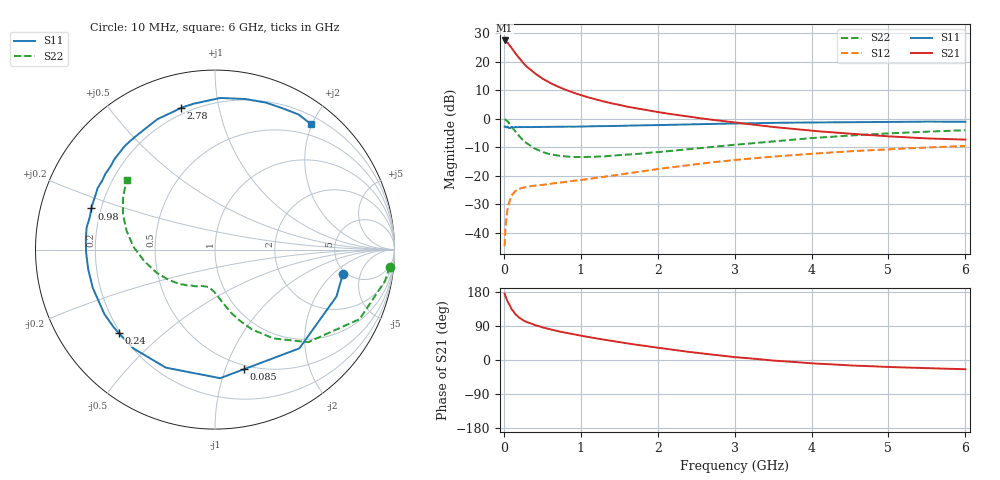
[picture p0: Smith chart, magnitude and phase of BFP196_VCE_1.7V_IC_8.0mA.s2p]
! (c) 2016  Infineon Technologies AG, Munich
! Infineon Technologies  Discrete & RF Semiconductors
! BFP196
! VCE = 1.7 V,  IC = 8.0mA
! Common Emitter S-Parameters:  Jan 2016
# GHz  S  MA  R  50
!  f  S11  S21  S12  S22
! GHz  MAG  ANG  MAG  ANG  MAG  ANG  MAG  ANG
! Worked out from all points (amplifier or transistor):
!   210 points, 10 MHz to 6 GHz, reference 50 ohm
!   highest |S21| = 27.4 dB at 10 MHz (marker M1)
!   |S21| within 3 dB of that: start of sweep to 111.5 MHz
!   unconditionally stable (mu >= 1): 928.1 MHz to 3.416 GHz
!   at 185 MHz: K = 0.27, MSG = 23.3 dB, |S12| = -24.8 dB
!   at 1.52 GHz: K = 1.18, MAG = 9.6 dB, |S12| = -19.6 dB
!   at 6 GHz: K = 0.99, MSG = 1.1 dB, |S12| = -9.6 dB
!   S11 on the Smith chart (normalised r, x): 10 MHz: 4.66, -2.70; 85 MHz: 0.46, -1.16; 240 MHz: 0.19, -0.36; 980 MHz: 0.16, +0.16; 2.78 GHz: 0.17, +0.77; 6 GHz: 0.32, +1.99
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0.01  0.7251 -10.9  23.42 175.4  0.0058 86.9  0.9786 -5.6
0.02  0.7256 -21.1  22.81 168.8  0.0117 79.7  0.962 -10.7
0.05  0.7237 -49.5  21.32 154.0  0.027 67.0  0.8945 -25.6
0.085  0.6858 -76.4  18.39 141.1  0.0391 53.9  0.7708 -38.2
0.1  0.717 -87.7  17.48 134.4  0.0446 50.5  0.7319 -44.8
0.15  0.7124 -112.6  13.87 120.7  0.0539 41.1  0.5919 -56.7
0.2  0.714 -129.4  11.41 111.6  0.0589 35.4  0.49 -65.2
0.24  0.7101 -139.0  9.838 106.4  0.061 32.3  0.4298 -69.8
0.26  0.7112 -143.1  9.177 103.9  0.0621 31.4  0.4055 -71.9
0.3  0.7134 -149.7  8.072 99.9  0.0639 30.4  0.3673 -75.3
0.4  0.7138 -162.7  6.243 92.3  0.0668 28.7  0.2992 -81.7
0.5  0.715 -171.3  5.033 86.2  0.0687 28.7  0.2598 -86.7
0.7  0.7223 175.2  3.654 76.0  0.0743 30.7  0.2249 -93.8
0.98  0.7258 161.6  2.635 65.0  0.0831 34.5  0.2114 -102.3
1.02  0.7278 159.8  2.534 63.4  0.0843 35.1  0.2116 -103.5
1.4  0.7426 145.1  1.851 50.5  0.0997 38.6  0.2236 -113.8
2.02  0.7705 125.0  1.29 31.9  0.1311 40.7  0.2596 -131.3
2.78  0.8111 103.7  0.929 12.7  0.175 37.1  0.3244 -152.1
3.1  0.8237 96.4  0.824 6.0  0.1934 34.1  0.3565 -160.6
4.1  0.8567 77.0  0.597 -9.8  0.2466 23.8  0.4642 175.7
5.1  0.8747 63.0  0.481 -19.1  0.294 12.3  0.5573 156.9
6  0.8798 52.4  0.428 -24.4  0.331 1.4  0.6255 142.0
